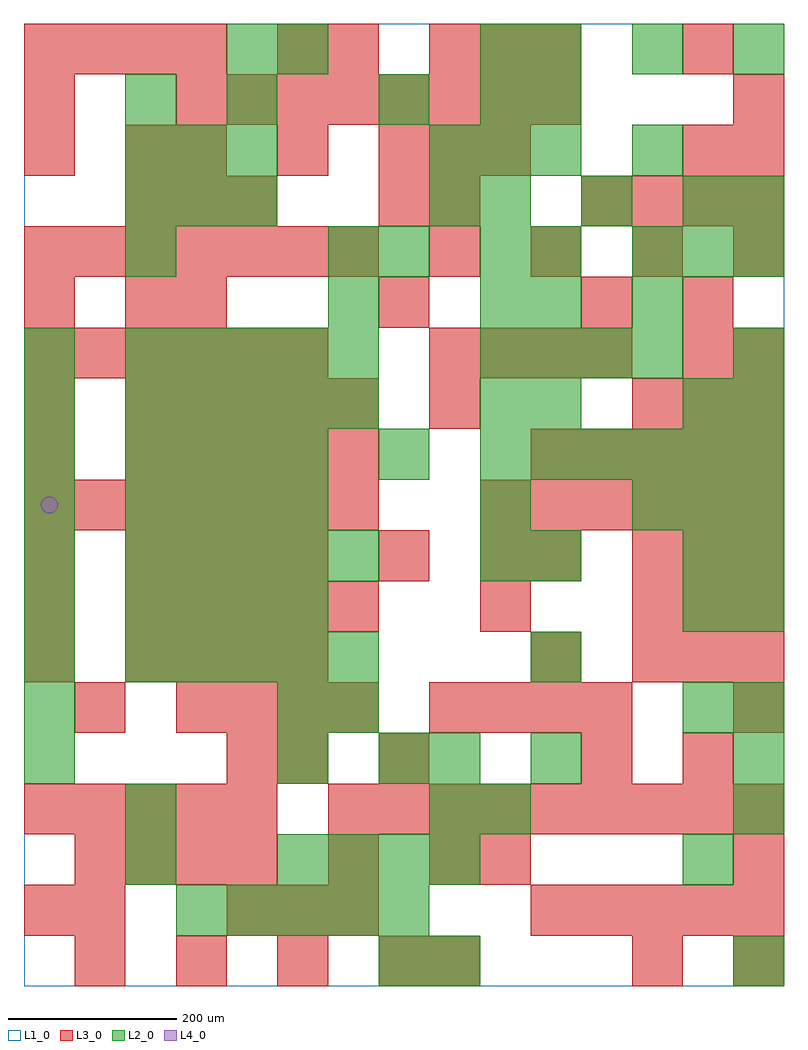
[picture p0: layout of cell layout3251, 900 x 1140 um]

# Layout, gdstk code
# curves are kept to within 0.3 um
import gdstk
lib = gdstk.Library(unit=1e-6, precision=1e-09)
def R(c, l, rs):  # rectangles x0, y0, x1, y1
    for r in rs: c.add(gdstk.rectangle(r[:2], r[2:], *l))
def A(c, l, x, y, w, h, nx, ny, dx, dy):  # array of equal rectangles
    R(c, l, [(x+i*dx, y+j*dy, x+i*dx+w, y+j*dy+h) for i in range(nx) for j in range(ny)])
def P(c, l, *ps):  # polygons
    for p in ps: c.add(gdstk.Polygon(p, *l))
L1_0 = (1, 0)
L2_0 = (2, 0)
L3_0 = (3, 0)
L4_0 = (4, 0)

layout3251 = lib.new_cell('layout3251')
R(layout3251, L1_0, [(0,0,900,1140)])
A(layout3251, L2_0, 180, 60, 60, 60, 5, 1, 60, 0)
A(layout3251, L2_0, 300, 120, 60, 60, 4, 1, 60, 0)
A(layout3251, L2_0, 840, 180, 60, 60, 1, 3, 0, 60)
A(layout3251, L2_0, 0, 240, 60, 60, 1, 9, 0, 60)
A(layout3251, L2_0, 600, 240, 60, 60, 1, 3, 0, 120)
A(layout3251, L2_0, 120, 360, 60, 60, 5, 2, 60, 120)
A(layout3251, L2_0, 120, 420, 60, 60, 4, 2, 60, 120)
A(layout3251, L2_0, 540, 540, 60, 60, 1, 3, 0, 120)
A(layout3251, L2_0, 720, 540, 60, 60, 3, 2, 60, 300)
A(layout3251, L2_0, 120, 600, 60, 60, 4, 1, 60, 0)
A(layout3251, L2_0, 540, 600, 60, 60, 6, 1, 60, 0)
A(layout3251, L2_0, 120, 660, 60, 60, 5, 2, 60, 60)
A(layout3251, L2_0, 540, 720, 60, 60, 4, 1, 60, 0)
A(layout3251, L2_0, 120, 900, 60, 60, 3, 2, 60, 60)
A(layout3251, L2_0, 540, 900, 60, 60, 3, 1, 120, 0)
A(layout3251, L2_0, 480, 960, 60, 60, 3, 1, 60, 0)
A(layout3251, L2_0, 600, 1080, 60, 60, 3, 1, 120, 0)
R(layout3251, L2_0, [(420,0,480,60), (480,0,540,60), (840,0,900,60), (120,120,180,180), (780,120,840,180), (120,180,180,240), (480,180,540,240), (540,180,600,240), (300,240,360,300), (420,240,480,300), (480,240,540,300), (300,300,360,360), (360,300,420,360), (780,300,840,360), (780,420,840,480), (840,420,900,480), (540,480,600,540), (780,480,840,540), (840,480,900,540), (420,600,480,660), (600,660,660,720), (780,660,840,720), (840,660,900,720), (840,720,900,780), (360,780,420,840), (600,780,660,840), (720,780,780,840), (120,840,180,900), (360,840,420,900), (420,840,480,900), (540,840,600,900), (600,840,660,900), (480,900,540,960), (840,900,900,960), (720,960,780,1020), (120,1020,180,1080), (240,1020,300,1080), (420,1020,480,1080), (540,1020,600,1080), (600,1020,660,1080), (240,1080,300,1140), (300,1080,360,1140), (540,1080,600,1140)])
A(layout3251, L3_0, 60, 0, 60, 60, 4, 1, 120, 0)
A(layout3251, L3_0, 240, 60, 60, 60, 3, 1, 60, 0)
A(layout3251, L3_0, 600, 60, 60, 60, 5, 2, 60, 540)
A(layout3251, L3_0, 60, 120, 60, 60, 4, 1, 60, 0)
A(layout3251, L3_0, 0, 180, 60, 60, 5, 1, 60, 0)
A(layout3251, L3_0, 360, 180, 60, 60, 9, 1, 60, 0)
A(layout3251, L3_0, 180, 300, 60, 60, 4, 1, 60, 0)
A(layout3251, L3_0, 480, 300, 60, 60, 4, 2, 60, 420)
A(layout3251, L3_0, 0, 360, 60, 60, 1, 3, 0, 60)
A(layout3251, L3_0, 120, 360, 60, 60, 4, 2, 60, 120)
A(layout3251, L3_0, 720, 360, 60, 60, 3, 3, 60, 60)
A(layout3251, L3_0, 120, 420, 60, 60, 5, 2, 60, 180)
A(layout3251, L3_0, 0, 540, 60, 60, 7, 2, 60, 300)
A(layout3251, L3_0, 540, 540, 60, 60, 6, 1, 60, 0)
A(layout3251, L3_0, 120, 660, 60, 60, 5, 1, 60, 0)
A(layout3251, L3_0, 720, 660, 60, 60, 3, 1, 60, 0)
A(layout3251, L3_0, 0, 720, 60, 60, 6, 1, 60, 0)
A(layout3251, L3_0, 180, 780, 60, 60, 3, 1, 240, 0)
A(layout3251, L3_0, 480, 840, 60, 60, 4, 1, 120, 0)
A(layout3251, L3_0, 120, 900, 60, 60, 3, 1, 60, 0)
A(layout3251, L3_0, 660, 900, 60, 60, 4, 1, 60, 0)
A(layout3251, L3_0, 180, 960, 60, 60, 3, 1, 120, 0)
A(layout3251, L3_0, 180, 1020, 60, 60, 8, 1, 60, 0)
A(layout3251, L3_0, 0, 1080, 60, 60, 4, 1, 60, 0)
A(layout3251, L3_0, 480, 1080, 60, 60, 3, 1, 60, 0)
R(layout3251, L3_0, [(480,0,540,60), (720,0,780,60), (840,0,900,60), (0,60,60,120), (60,60,120,120), (360,120,420,180), (480,120,540,180), (540,120,600,180), (840,120,900,180), (240,240,300,300), (300,240,360,300), (420,240,480,300), (660,240,720,300), (780,240,840,300), (60,300,120,360), (840,300,900,360), (600,360,660,420), (540,420,600,480), (420,480,480,540), (540,480,600,540), (600,480,660,540), (0,600,60,660), (0,660,60,720), (480,660,540,720), (780,720,840,780), (840,720,900,780), (0,780,60,840), (120,780,180,840), (780,780,840,840), (420,900,480,960), (480,900,540,960), (0,960,60,1020), (120,960,180,1020), (480,960,540,1020), (540,960,600,1020), (780,960,840,1020), (840,960,900,1020), (0,1020,60,1080), (840,1020,900,1080), (300,1080,360,1140), (360,1080,420,1140), (780,1080,840,1140)])
P(layout3251, L4_0, [(40,570),(39.239,573.827),(37.071,577.071),(33.827,579.239),(30,580),(26.173,579.239),(22.929,577.071),(20.761,573.827),(20,570),(20.761,566.173),(22.929,562.929),(26.173,560.761),(30,560),(33.827,560.761),(37.071,562.929),(39.239,566.173)])

lib.write_gds('layout3251.gds')
